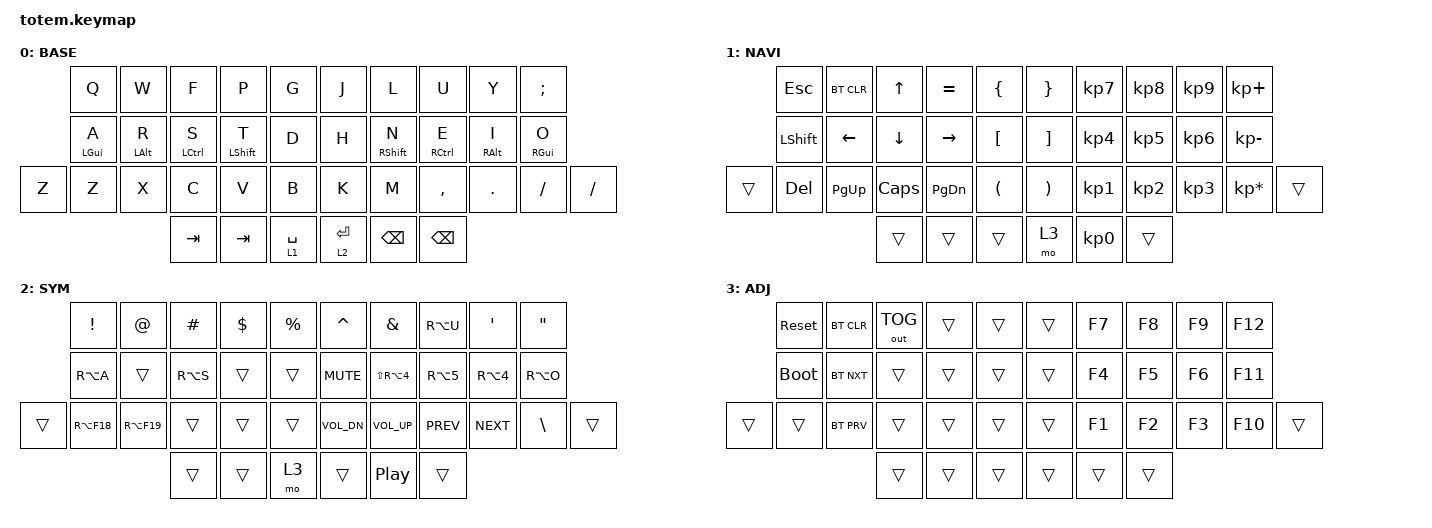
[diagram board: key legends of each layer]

#include <behaviors.dtsi>
#include <dt-bindings/zmk/keys.h>
#include <dt-bindings/zmk/bt.h>
#include <dt-bindings/zmk/outputs.h>

/ {
        keymap {
                compatible = "zmk,keymap";

                base_layer {

label= "BASE";
 bindings = <
                &kp Q       &kp W       &kp F       &kp P       &kp G           &kp J       &kp L       &kp U       &kp Y       &kp SEMI
                &mt LGUI A  &mt LALT R  &mt LCTRL S &mt LSHFT T &kp D           &kp H       &mt RSHFT N &mt RCTRL E &mt RALT I  &mt RGUI O
    &kp Z       &kp Z       &kp X       &kp C       &kp V       &kp B           &kp K       &kp M       &kp COMMA   &kp DOT     &kp FSLH    &kp FSLH
                                        &kp TAB     &kp TAB     &lt 1 SPACE   &lt 2 RET &kp BSPC    &kp BSPC
                        >;
                };


                nav_layer {

label= "NAVI";
 bindings = <
                &kp ESC     &bt BT_CLR  &kp UP      &kp EQUAL   &kp LBRC        &kp RBRC    &kp KP_N7   &kp KP_N8   &kp KP_N9   &kp KP_PLUS
                &kp LSHFT   &kp LEFT    &kp DOWN    &kp RIGHT   &kp LBKT        &kp RBKT    &kp KP_N4   &kp KP_N5   &kp KP_N6   &kp KP_MINUS
    &trans      &kp DEL     &kp PG_UP   &kp CAPS    &kp PG_DN   &kp LPAR        &kp RPAR    &kp KP_N1   &kp KP_N2   &kp KP_N3   &kp KP_MULTIPLY &trans      
                                        &trans      &trans      &trans          &mo 3     &kp KP_N0   &trans      
                        >;
                };


                sim_layer {

label= "SYM";
 bindings = <
                &kp EXCL    &kp AT      &kp HASH    &kp DLLR    &kp PRCNT       &kp CARET   &kp AMPS    &kp RA(U)   &kp SQT     &kp DQT       
                &kp RA(A)   &trans      &kp RA(S)   &trans      &trans          &kp C_MUTE  &kp LS(RA(N4)) &kp RA(N5) &kp RA(N4)   &kp RA(O) 
    &trans      &kp RA(F18) &kp RA(F19) &trans      &trans      &trans          &kp C_VOL_DN &kp C_VOL_UP &kp C_PREV &kp C_NEXT  &kp BSLH   &trans         
                                        &trans      &trans        &mo 3         &trans      &kp C_PP    &trans      
                        >;
                };


                adjust_layer {

label= "ADJ";
 bindings = <
                &sys_reset  &bt BT_CLR &out OUT_TOG &trans      &trans          &trans      &kp F7      &kp F8      &kp F9      &kp F12
                &bootloader &bt BT_NXT  &trans      &trans      &trans          &trans      &kp F4      &kp F5      &kp F6      &kp F11  
    &trans      &trans      &bt BT_PRV  &trans      &trans      &trans          &trans      &kp F1      &kp F2      &kp F3      &kp F10     &trans         
                                        &trans      &trans      &trans          &trans      &trans      &trans      
                        >;
                };
        };
};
